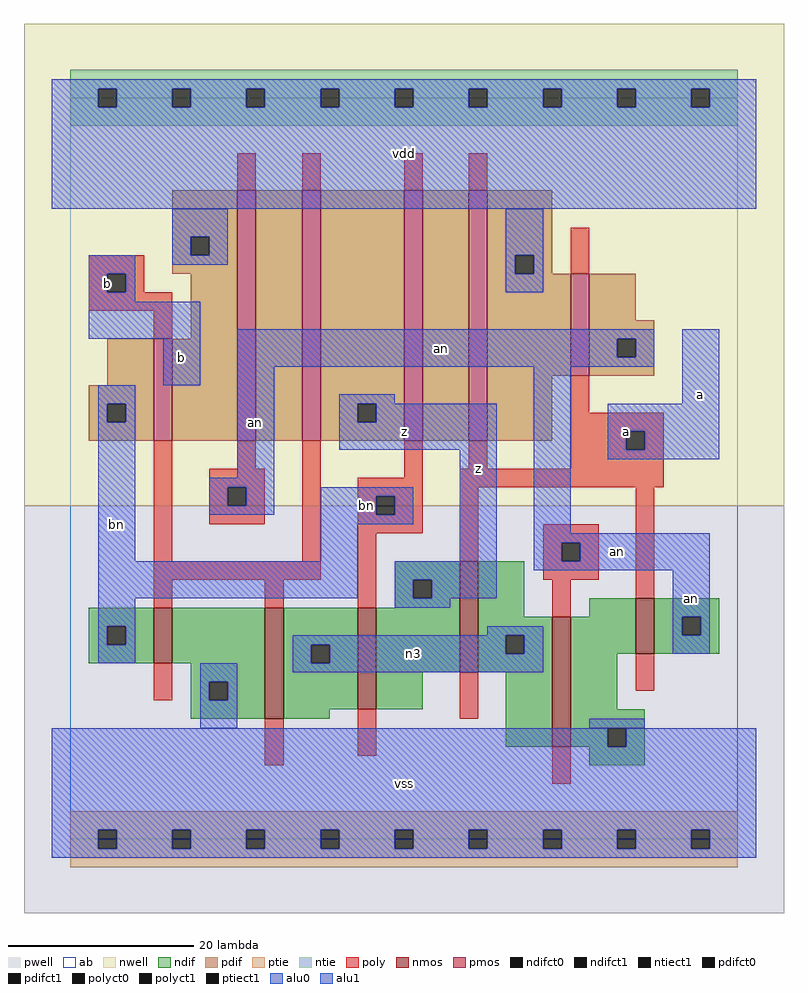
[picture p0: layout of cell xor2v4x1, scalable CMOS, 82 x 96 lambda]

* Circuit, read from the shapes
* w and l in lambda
.subckt xor2v4x1 a an b bn n3 vdd vss z
M1 vss b bn vss nfet w=6 l=2
M2 n3 b vss vss nfet w=12 l=2
M3 z bn n3 vss nfet w=11 l=2
M4 n3 a z vss nfet w=12 l=2
M5 vss an n3 vss nfet w=14 l=2
M6 an a vss vss nfet w=6 l=2
M7 vdd b bn vdd pfet w=11 l=2
M8 n1 an vdd vdd pfet w=27 l=2
M9 z b n1 vdd pfet w=27 l=2
M10 n2 bn z vdd pfet w=27 l=2
M11 vdd a n2 vdd pfet w=27 l=2
M12 an a vdd vdd pfet w=11 l=2
.ends

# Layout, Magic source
magic
tech scmos
<< ab >>
rect 0 0 72 80
<< nwell >>
rect -5 36 77 88
<< pwell >>
rect -5 -8 77 36
<< poly >>
rect 18 70 20 74
rect 25 70 27 74
rect 36 70 38 74
rect 43 70 45 74
rect 2 61 8 63
rect 2 59 4 61
rect 6 59 8 61
rect 2 57 11 59
rect 9 54 11 57
rect 54 61 56 66
rect 54 46 56 50
rect 54 44 64 46
rect 9 30 11 43
rect 18 40 20 43
rect 15 38 21 40
rect 15 36 17 38
rect 19 36 21 38
rect 15 34 21 36
rect 25 30 27 43
rect 36 39 38 43
rect 43 40 45 43
rect 54 42 60 44
rect 62 42 64 44
rect 54 40 64 42
rect 9 28 27 30
rect 31 37 38 39
rect 31 35 33 37
rect 35 35 38 37
rect 31 33 38 35
rect 42 38 64 40
rect 9 25 11 28
rect 21 25 23 28
rect 31 25 33 33
rect 42 30 44 38
rect 51 32 57 34
rect 51 30 53 32
rect 55 30 57 32
rect 9 15 11 19
rect 51 28 57 30
rect 52 24 54 28
rect 61 26 63 38
rect 21 8 23 13
rect 31 9 33 14
rect 42 13 44 18
rect 61 16 63 20
rect 52 6 54 10
<< ndif >>
rect 35 28 42 30
rect 35 26 37 28
rect 39 26 42 28
rect 35 25 42 26
rect 2 23 9 25
rect 2 21 4 23
rect 6 21 9 23
rect 2 19 9 21
rect 11 19 21 25
rect 13 17 21 19
rect 13 15 15 17
rect 17 15 21 17
rect 13 13 21 15
rect 23 21 31 25
rect 23 19 26 21
rect 28 19 31 21
rect 23 14 31 19
rect 33 18 42 25
rect 44 24 49 30
rect 56 24 61 26
rect 44 22 52 24
rect 44 20 47 22
rect 49 20 52 22
rect 44 18 52 20
rect 33 14 38 18
rect 23 13 28 14
rect 47 10 52 18
rect 54 20 61 24
rect 63 24 70 26
rect 63 22 66 24
rect 68 22 70 24
rect 63 20 70 22
rect 54 14 59 20
rect 54 12 62 14
rect 54 10 58 12
rect 60 10 62 12
rect 56 8 62 10
<< pdif >>
rect 11 65 18 70
rect 11 63 13 65
rect 15 63 18 65
rect 11 61 18 63
rect 13 54 18 61
rect 4 49 9 54
rect 2 47 9 49
rect 2 45 4 47
rect 6 45 9 47
rect 2 43 9 45
rect 11 43 18 54
rect 20 43 25 70
rect 27 47 36 70
rect 27 45 31 47
rect 33 45 36 47
rect 27 43 36 45
rect 38 43 43 70
rect 45 63 52 70
rect 45 61 48 63
rect 50 61 52 63
rect 45 50 54 61
rect 56 56 61 61
rect 56 54 63 56
rect 56 52 59 54
rect 61 52 63 54
rect 56 50 63 52
rect 45 43 52 50
<< alu1 >>
rect -2 81 74 82
rect -2 79 3 81
rect 5 79 11 81
rect 13 79 19 81
rect 21 79 27 81
rect 29 79 35 81
rect 37 79 43 81
rect 45 79 51 81
rect 53 79 59 81
rect 61 79 67 81
rect 69 79 74 81
rect -2 68 74 79
rect 2 61 7 63
rect 2 59 4 61
rect 6 59 7 61
rect 2 58 7 59
rect 2 54 14 58
rect 10 49 14 54
rect 29 47 35 48
rect 29 45 31 47
rect 33 45 46 47
rect 29 42 46 45
rect 42 30 46 42
rect 35 28 46 30
rect 66 47 70 55
rect 58 44 70 47
rect 58 42 60 44
rect 62 42 70 44
rect 58 41 70 42
rect 35 26 37 28
rect 39 26 46 28
rect 35 25 41 26
rect -2 10 58 12
rect 60 10 74 12
rect -2 1 74 10
rect -2 -1 3 1
rect 5 -1 11 1
rect 13 -1 19 1
rect 21 -1 27 1
rect 29 -1 35 1
rect 37 -1 43 1
rect 45 -1 51 1
rect 53 -1 59 1
rect 61 -1 67 1
rect 69 -1 74 1
rect -2 -2 74 -1
<< ptie >>
rect 0 1 72 3
rect 0 -1 3 1
rect 5 -1 11 1
rect 13 -1 19 1
rect 21 -1 27 1
rect 29 -1 35 1
rect 37 -1 43 1
rect 45 -1 51 1
rect 53 -1 59 1
rect 61 -1 67 1
rect 69 -1 72 1
rect 0 -3 72 -1
<< ntie >>
rect 0 81 72 83
rect 0 79 3 81
rect 5 79 11 81
rect 13 79 19 81
rect 21 79 27 81
rect 29 79 35 81
rect 37 79 43 81
rect 45 79 51 81
rect 53 79 59 81
rect 61 79 67 81
rect 69 79 72 81
rect 0 77 72 79
<< nmos >>
rect 9 19 11 25
rect 21 13 23 25
rect 31 14 33 25
rect 42 18 44 30
rect 52 10 54 24
rect 61 20 63 26
<< pmos >>
rect 9 43 11 54
rect 18 43 20 70
rect 25 43 27 70
rect 36 43 38 70
rect 43 43 45 70
rect 54 50 56 61
<< polyct0 >>
rect 17 36 19 38
rect 33 35 35 37
rect 53 30 55 32
<< polyct1 >>
rect 4 59 6 61
rect 60 42 62 44
<< ndifct0 >>
rect 4 21 6 23
rect 15 15 17 17
rect 26 19 28 21
rect 47 20 49 22
rect 66 22 68 24
<< ndifct1 >>
rect 37 26 39 28
rect 58 10 60 12
<< ntiect1 >>
rect 3 79 5 81
rect 11 79 13 81
rect 19 79 21 81
rect 27 79 29 81
rect 35 79 37 81
rect 43 79 45 81
rect 51 79 53 81
rect 59 79 61 81
rect 67 79 69 81
<< ptiect1 >>
rect 3 -1 5 1
rect 11 -1 13 1
rect 19 -1 21 1
rect 27 -1 29 1
rect 35 -1 37 1
rect 43 -1 45 1
rect 51 -1 53 1
rect 59 -1 61 1
rect 67 -1 69 1
<< pdifct0 >>
rect 13 63 15 65
rect 4 45 6 47
rect 48 61 50 63
rect 59 52 61 54
<< pdifct1 >>
rect 31 45 33 47
<< alu0 >>
rect 11 65 17 68
rect 11 63 13 65
rect 15 63 17 65
rect 11 62 17 63
rect 47 63 51 68
rect 47 61 48 63
rect 50 61 51 63
rect 47 59 51 61
rect 18 54 63 55
rect 18 52 59 54
rect 61 52 63 54
rect 18 51 63 52
rect 3 47 7 49
rect 3 45 4 47
rect 6 45 7 47
rect 3 30 7 45
rect 18 39 22 51
rect 15 38 22 39
rect 15 36 17 38
rect 19 36 22 38
rect 15 35 22 36
rect 27 37 37 38
rect 27 35 33 37
rect 35 35 37 37
rect 27 34 37 35
rect 27 30 31 34
rect 3 26 31 30
rect 50 33 54 51
rect 50 32 69 33
rect 50 30 53 32
rect 55 30 69 32
rect 50 29 69 30
rect 3 23 7 26
rect 65 24 69 29
rect 3 21 4 23
rect 6 21 7 23
rect 45 22 51 23
rect 3 19 7 21
rect 24 21 47 22
rect 24 19 26 21
rect 28 20 47 21
rect 49 20 51 22
rect 65 22 66 24
rect 68 22 69 24
rect 65 20 69 22
rect 28 19 51 20
rect 14 17 18 19
rect 24 18 51 19
rect 14 15 15 17
rect 17 15 18 17
rect 14 12 18 15
rect 56 12 62 13
<< labels >>
rlabel alu0 5 34 5 34 6 bn
rlabel alu0 20 45 20 45 6 an
rlabel alu0 37 20 37 20 6 n3
rlabel alu0 32 36 32 36 6 bn
rlabel alu0 67 26 67 26 6 an
rlabel alu0 59 31 59 31 6 an
rlabel alu0 40 53 40 53 6 an
rlabel alu1 12 52 12 52 6 b
rlabel alu1 4 60 4 60 6 b
rlabel alu1 36 6 36 6 6 vss
rlabel alu1 44 40 44 40 6 z
rlabel alu1 36 44 36 44 6 z
rlabel alu1 36 74 36 74 6 vdd
rlabel alu1 60 44 60 44 6 a
rlabel alu1 68 48 68 48 6 a
<< end >>
